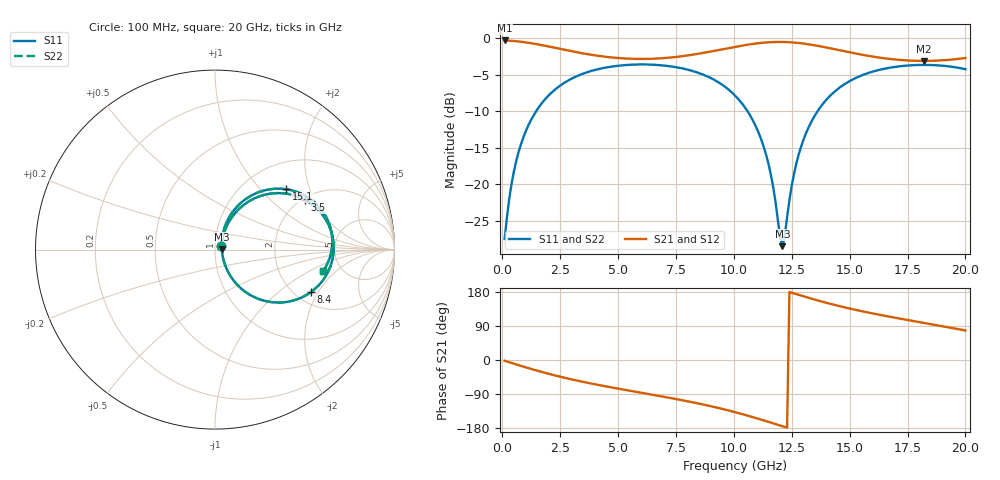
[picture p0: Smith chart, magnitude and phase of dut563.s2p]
! Touchstone file exported from HFSS 2026.1.0
!  File:  C:/ffzhzh/LocalFiles/Ansys_Project_Files/temp_train_TSV_RDL_563_1783116649_35180.aedt
!  Generated:  06:24:03 AM Jul  4, 2026
!  Design:  TSV_RDL
!  Project:  temp_train_TSV_RDL_563_1783116649_35180
! Variables:
!  h_bsmrdl = 5.43um
!  h_ox = 20um
!  h_rdl = 5um
!  h_sub = 76.26um
!  h_tmrdl = 3.44um
!  h_tsv = 76.26um
!  h_via = 3um
!  l_bsmrdl = 500.57um
!  l_sub = 4791.21um
!  l_tmrdl = 704.51um
!  m_sub = 200um
!  pitch = 52.07um
!  r_tsv = 10.08um
!  s_tmrdl = 10um
!  w_bsmrdl = 13.32um
!  w_sub = 500um
!  w_tmrdl = 10.5um
!  x_tsv_center1 = 709.76um
!  x_tsv_center2 = 1223.65um
!  x_tsv_center3 = 1938.66um
!  x_tsv_center4 = 2452.55um
!  x_tsv_center5 = 3167.56um
!  x_tsv_center6 = 3681.45um
# GHz S MA R 50.000000
! Terminal data exported
! Port[1] = TM_RDL1_1_T1
! Port[2] = TM_RDL5_1_T1
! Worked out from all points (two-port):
!   200 points, 100 MHz to 20 GHz, reference 50 ohm
!   highest |S21| = -0.31 dB at 100 MHz (marker M1); lowest = -3.1 dB at 18.2 GHz (marker M2)
!   |S21| within 3 dB of the highest: start of sweep to end of sweep
!   lowest |S11| = -28.4 dB at 12.1 GHz (marker M3), VSWR 1.08, Z = 53.9 + j0.397 ohm
!   |S11| at or under -10 dB: start of sweep to 1.46 GHz; 10.59 GHz to 13.61 GHz (3.021 GHz wide, 25 % of centre)
!   |S22| runs from -28.4 to -3.6 dB; largest |S21 - S12| = 1.6e-14
!   S11 on the Smith chart (normalised r, x): 100 MHz: 1.07, +0.05; 3.5 GHz: 2.06, +1.70; 8.4 GHz: 2.41, -1.73; 15.1 GHz: 1.53, +1.40; 20 GHz: 3.60, -1.39
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0.1  0.04233 32.7  0.9649 -2.0  0.9649 -2.0  0.04233 32.7
! Gamma 0 0 0 0
! Port Impedance 50 0 50 0
0.3  0.07974 57.5  0.9618 -5.9  0.9618 -5.9  0.07974 57.5
0.5  0.1227 62.9  0.9567 -9.8  0.9567 -9.8  0.1227 62.9
1.1  0.2482 60.3  0.9319 -21.0  0.9319 -21.0  0.2482 60.3
2.1  0.4205 47.1  0.8712 -38.0  0.8712 -38.0  0.4205 47.1
3.5  0.573 28.9  0.7865 -57.9  0.7865 -57.9  0.573 29.0
5.1  0.6505 11.2  0.7298 -76.7  0.7298 -76.7  0.6505 11.2
6.8  0.6541 -6.3  0.7277 -95.1  0.7277 -95.1  0.6541 -6.3
8.4  0.5844 -23.9  0.7792 -113.9  0.7792 -113.9  0.5844 -23.9
10.1  0.3981 -45.8  0.8753 -138.4  0.8753 -138.4  0.398 -45.8
10.8  0.2781 -55.1  0.913 -150.4  0.913 -150.4  0.2781 -55.0
11.3  0.1789 -59.5  0.9324 -159.6  0.9324 -159.6  0.1789 -59.5
11.6  0.1164 -58.3  0.9395 -165.2  0.9395 -165.2  0.1165 -58.2
12  0.0433 -23.8  0.9427 -172.9  0.9427 -172.9  0.04338 -23.7
12.1  0.03785 5.6  0.9424 -174.8  0.9424 -174.8  0.03796 5.6
12.7  0.1392 66.7  0.9305 173.8  0.9305 173.8  0.1393 66.7
13.4  0.2779 62.3  0.8992 161.0  0.8992 161.0  0.278 62.3
14.1  0.3952 53.3  0.8571 149.3  0.8571 149.3  0.3952 53.3
15.1  0.5189 40.4  0.7948 134.4  0.7948 134.4  0.5189 40.4
16.7  0.6271 22.2  0.7224 114.5  0.7224 114.5  0.6271 22.2
18.2  0.6565 7.0  0.6994 98.1  0.6994 98.1  0.6566 7.1
20  0.6137 -11.3  0.7318 78.0  0.7318 78.0  0.6138 -11.3
